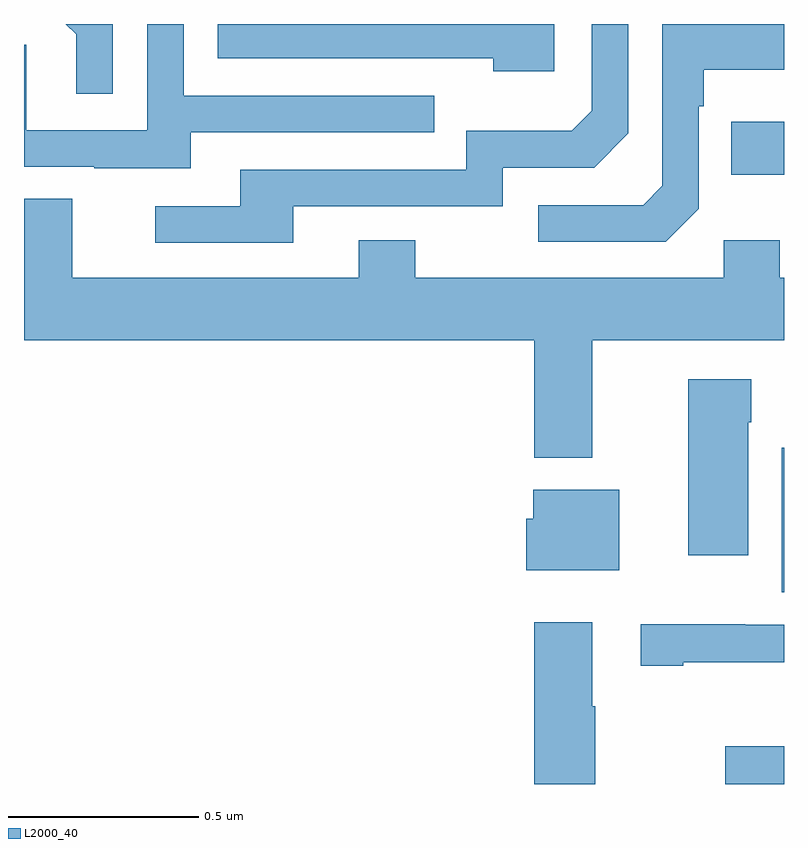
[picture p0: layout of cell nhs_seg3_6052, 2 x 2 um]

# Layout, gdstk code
import gdstk
lib = gdstk.Library(unit=1e-6, precision=1e-09)
def R(c, l, rs):  # rectangles x0, y0, x1, y1
    for r in rs: c.add(gdstk.rectangle(r[:2], r[2:], *l))
def P(c, l, *ps):  # polygons
    for p in ps: c.add(gdstk.Polygon(p, *l))
L2000_40 = (2000, 40)

nhs_seg3_6052 = lib.new_cell('nhs_seg3_6052')
R(nhs_seg3_6052, L2000_40, [(187.846,714.4,188,714.499), (187.994,714.904,188,715.285), (187.861,716.003,188,716.143)])
P(nhs_seg3_6052, L2000_40, [(187.776,715.914),(187.776,716.183),(187.789,716.183),(187.789,716.279),(188,716.279),(188,716.4),(187.68,716.4),(187.68,715.974),(187.629,715.923),(187.353,715.923),(187.353,715.827),(187.689,715.827)],
  [(186.709,715.92),(187.26,715.92),(187.26,716.022),(187.5,716.022),(187.59,716.112),(187.59,716.4),(187.494,716.4),(187.494,716.172),(187.441,716.119),(187.164,716.119),(187.164,716.016),(186.569,716.016),(186.569,715.92),(186.345,715.92),(186.345,715.824),(186.709,715.824)],
  [(187.396,716.4),(186.51,716.4),(186.51,716.31),(187.235,716.31),(187.235,716.276),(187.396,716.276)],
  [(186.439,716.115),(187.079,716.115),(187.079,716.211),(186.42,716.211),(186.42,716.4),(186.324,716.4),(186.324,716.121),(186.006,716.121),(186.006,716.345),(186,716.345),(186,716.025),(186.185,716.025),(186.185,716.021),(186.439,716.021)],
  [(186.234,716.4),(186.11,716.4),(186.137,716.373),(186.137,716.217),(186.234,716.217)],
  [(187.495,715.568),(188,715.568),(188,715.732),(187.989,715.732),(187.989,715.831),(187.842,715.831),(187.842,715.732),(187.029,715.732),(187.029,715.831),(186.881,715.831),(186.881,715.732),(186.127,715.732),(186.127,715.94),(186,715.94),(186,715.568),(187.343,715.568),(187.343,715.259),(187.495,715.259)],
  [(187.906,715.352),(187.914,715.352),(187.914,715.465),(187.748,715.465),(187.748,715.002),(187.906,715.002)],
  [(187.567,715.174),(187.34,715.174),(187.34,715.098),(187.322,715.098),(187.322,714.962),(187.567,714.962)],
  [(187.735,714.721),(188,714.721),(188,714.819),(187.898,714.819),(187.898,714.821),(187.623,714.821),(187.623,714.711),(187.735,714.711)],
  [(187.495,714.605),(187.495,714.826),(187.343,714.826),(187.343,714.4),(187.503,714.4),(187.503,714.605)])

lib.write_gds('nhs_seg3_6052.gds')
